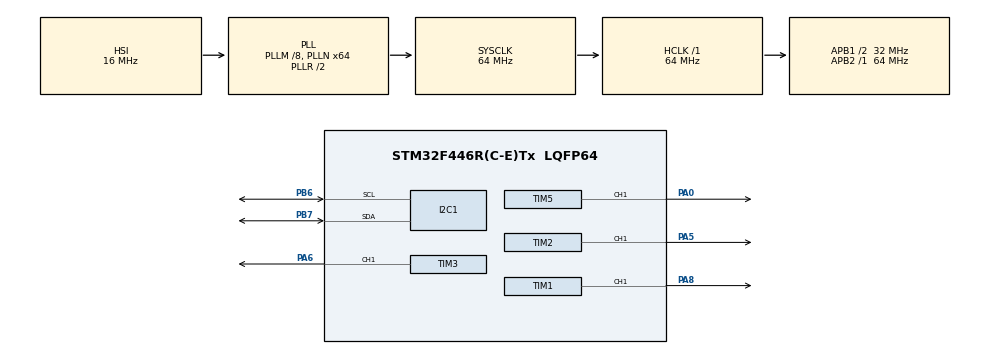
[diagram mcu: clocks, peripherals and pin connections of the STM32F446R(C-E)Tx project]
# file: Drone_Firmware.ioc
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Mcu.Family=STM32F4
Mcu.Name=STM32F446R(C-E)Tx
Mcu.Package=LQFP64
NVIC.PriorityGroup=NVIC_PRIORITYGROUP_4
PA0-WKUP.Signal=S_TIM5_CH1
PA5.Signal=S_TIM2_CH1_ETR
PA6.Signal=S_TIM3_CH1
PA8.Signal=S_TIM1_CH1
PB6.Mode=I2C
PB6.Signal=I2C1_SCL
PB7.Mode=I2C
PB7.Signal=I2C1_SDA
ProjectManager.HeapSize=0x200
ProjectManager.StackSize=0x400
ProjectManager.TargetToolchain=STM32CubeIDE
RCC.AHBFreq_Value=64000000
RCC.APB1CLKDivider=RCC_HCLK_DIV2
RCC.APB1Freq_Value=32000000
RCC.APB1TimFreq_Value=64000000
RCC.APB2Freq_Value=64000000
RCC.APB2TimFreq_Value=64000000
RCC.CortexFreq_Value=64000000
RCC.HCLKFreq_Value=64000000
RCC.PLLM=8
RCC.PLLN=64
RCC.SYSCLKFreq_VALUE=64000000
RCC.SYSCLKSource=RCC_SYSCLKSOURCE_PLLRCLK
RCC.USBFreq_Value=64000000
RCC.VCOOutputFreq_Value=128000000
SH.S_TIM1_CH1.0=TIM1_CH1,PWM Generation1 CH1
SH.S_TIM2_CH1_ETR.0=TIM2_CH1,PWM Generation1 CH1
SH.S_TIM3_CH1.0=TIM3_CH1,PWM Generation1 CH1
SH.S_TIM5_CH1.0=TIM5_CH1,PWM Generation1 CH1
TIM1.Channel-PWM\ Generation1\ CH1=TIM_CHANNEL_1
TIM1.Period=20000 - 1
TIM1.Prescaler=64 - 1
TIM1.Pulse-PWM\ Generation1\ CH1=1000
TIM2.Channel-PWM\ Generation1\ CH1=TIM_CHANNEL_1
TIM2.Period=20000 - 1
TIM2.Prescaler=64 - 1
TIM2.Pulse-PWM\ Generation1\ CH1=1000
TIM3.Channel-PWM\ Generation1\ CH1=TIM_CHANNEL_1
TIM3.Period=20000 - 1
TIM3.Prescaler=64 - 1
TIM3.Pulse-PWM\ Generation1\ CH1=1000
TIM5.Channel-PWM\ Generation1\ CH1=TIM_CHANNEL_1
TIM5.Period=20000 - 1
TIM5.Prescaler=64 - 1
TIM5.Pulse-PWM\ Generation1\ CH1=1000
board=custom

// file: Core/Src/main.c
/* USER CODE BEGIN Header */
/**
  ******************************************************************************
  * @file           : main.c
  * @brief          : Main program body
  ******************************************************************************
  * @attention
  *
  * Copyright (c) 2025 STMicroelectronics.
  * All rights reserved.
  *
  * This software is licensed under terms that can be found in the LICENSE file
  * in the root directory of this software component.
  * If no LICENSE file comes with this software, it is provided AS-IS.
  *
  ******************************************************************************
  */
/* USER CODE END Header */
#include "main.h"

/* USER CODE BEGIN Includes */
#include "stm32f4xx_hal_i2c.h"
#include "stm32f4xx_hal_gpio.h"
#include "stm32f4xx_hal.h"

#include <stdio.h>
/* USER CODE END Includes */

/* USER CODE BEGIN PTD */
#define BNO055_I2C_ADDR 0x28 << 1
#define BNO055_CHIP_ID_ADDR         0x00
#define BNO055_OPR_MODE_ADDR        0x3D
#define BNO055_PWR_MODE_ADDR        0x3E
#define BNO055_SYS_TRIGGER_ADDR     0x3F
#define BNO055_EULER_H_LSB_ADDR     0x1A

// BNO055 작동 모드
#define BNO055_OPERATION_MODE_NDOF  0x0C

/* USER CODE END PTD */

/* USER CODE BEGIN PM */
typedef struct {
    float Kp;
    float Ki;
    float Kd;
    float previous_error;
    float integral;
} PID_Controller;
/* USER CODE END PM */

I2C_HandleTypeDef hi2c1;

TIM_HandleTypeDef htim1;
TIM_HandleTypeDef htim2;
TIM_HandleTypeDef htim3;
TIM_HandleTypeDef htim5;

void SystemClock_Config(void);
static void MX_GPIO_Init(void);
static void MX_I2C1_Init(void);
static void MX_TIM1_Init(void);
static void MX_TIM2_Init(void);
static void MX_TIM3_Init(void);
static void MX_TIM5_Init(void);
/* USER CODE BEGIN PFP */
//void BNO055_Init(void);
//void BNO055_Read_Euler_Angles(int16_t *yaw, int16_t *roll, int16_t *pitch);
/* USER CODE END PFP */

int main(void)
{

  /* MCU Configuration--------------------------------------------------------*/

  /* Reset of all peripherals, Initializes the Flash interface and the Systick. */
  HAL_Init();

  /* Configure the system clock */
  SystemClock_Config();

  /* Initialize all configured peripherals */
  MX_GPIO_Init();
  MX_I2C1_Init();
  MX_TIM1_Init();
  MX_TIM2_Init();
  MX_TIM3_Init();
  MX_TIM5_Init();
  /* USER CODE BEGIN 2 */
  //BNO055_Init();
  __HAL_TIM_SET_COMPARE(&htim1, TIM_CHANNEL_1, 1000);
  __HAL_TIM_SET_COMPARE(&htim2, TIM_CHANNEL_1, 1000);

  // 2. PWM 출력 시작
  HAL_TIM_PWM_Start(&htim1, TIM_CHANNEL_1);
  HAL_TIM_PWM_Start(&htim2, TIM_CHANNEL_1);

  // 3. ESC가 초기화(Arming)될 때까지 2~3초 대기
  HAL_Delay(3000);

  /* Infinite loop */
  /* USER CODE BEGIN WHILE */
  int16_t yaw, pitch, roll;
  while (1)
  {

//	 BNO055_Read_Raw_Euler_Angles(&yaw, &roll, &pitch);
//	 printf("Yaw: %d, Roll: %d, Pitch: %d\n", yaw/16, roll/16, pitch/16);
    /* USER CODE END WHILE */
	__HAL_TIM_SET_COMPARE(&htim1, TIM_CHANNEL_1, 1300);
	__HAL_TIM_SET_COMPARE(&htim2, TIM_CHANNEL_1, 1300);

  }
}

void SystemClock_Config(void)
{
  RCC_OscInitTypeDef RCC_OscInitStruct = {0};
  RCC_ClkInitTypeDef RCC_ClkInitStruct = {0};

  /** Configure the main internal regulator output voltage
  */
  __HAL_RCC_PWR_CLK_ENABLE();
  __HAL_PWR_VOLTAGESCALING_CONFIG(PWR_REGULATOR_VOLTAGE_SCALE3);

  /** Initializes the RCC Oscillators according to the specified parameters
  * in the RCC_OscInitTypeDef structure.
  */
  RCC_OscInitStruct.OscillatorType = RCC_OSCILLATORTYPE_HSI;
  RCC_OscInitStruct.HSIState = RCC_HSI_ON;
  RCC_OscInitStruct.HSICalibrationValue = RCC_HSICALIBRATION_DEFAULT;
  RCC_OscInitStruct.PLL.PLLState = RCC_PLL_ON;
  RCC_OscInitStruct.PLL.PLLSource = RCC_PLLSOURCE_HSI;
  RCC_OscInitStruct.PLL.PLLM = 8;
  RCC_OscInitStruct.PLL.PLLN = 64;
  RCC_OscInitStruct.PLL.PLLP = RCC_PLLP_DIV2;
  RCC_OscInitStruct.PLL.PLLQ = 2;
  RCC_OscInitStruct.PLL.PLLR = 2;
  if (HAL_RCC_OscConfig(&RCC_OscInitStruct) != HAL_OK)
  {
    Error_Handler();
  }

  /** Initializes the CPU, AHB and APB buses clocks
  */
  RCC_ClkInitStruct.ClockType = RCC_CLOCKTYPE_HCLK|RCC_CLOCKTYPE_SYSCLK
                              |RCC_CLOCKTYPE_PCLK1|RCC_CLOCKTYPE_PCLK2;
  RCC_ClkInitStruct.SYSCLKSource = RCC_SYSCLKSOURCE_PLLRCLK;
  RCC_ClkInitStruct.AHBCLKDivider = RCC_SYSCLK_DIV1;
  RCC_ClkInitStruct.APB1CLKDivider = RCC_HCLK_DIV2;
  RCC_ClkInitStruct.APB2CLKDivider = RCC_HCLK_DIV1;

  if (HAL_RCC_ClockConfig(&RCC_ClkInitStruct, FLASH_LATENCY_2) != HAL_OK)
  {
    Error_Handler();
  }
}

static void MX_I2C1_Init(void)
{

  hi2c1.Instance = I2C1;
  hi2c1.Init.ClockSpeed = 100000;
  hi2c1.Init.DutyCycle = I2C_DUTYCYCLE_2;
  hi2c1.Init.OwnAddress1 = 0;
  hi2c1.Init.AddressingMode = I2C_ADDRESSINGMODE_7BIT;
  hi2c1.Init.DualAddressMode = I2C_DUALADDRESS_DISABLE;
  hi2c1.Init.OwnAddress2 = 0;
  hi2c1.Init.GeneralCallMode = I2C_GENERALCALL_DISABLE;
  hi2c1.Init.NoStretchMode = I2C_NOSTRETCH_DISABLE;
  if (HAL_I2C_Init(&hi2c1) != HAL_OK)
  {
    Error_Handler();
  }

}

static void MX_TIM1_Init(void)
{

  TIM_MasterConfigTypeDef sMasterConfig = {0};
  TIM_OC_InitTypeDef sConfigOC = {0};
  TIM_BreakDeadTimeConfigTypeDef sBreakDeadTimeConfig = {0};

  htim1.Instance = TIM1;
  htim1.Init.Prescaler = 64 - 1;
  htim1.Init.CounterMode = TIM_COUNTERMODE_UP;
  htim1.Init.Period = 20000 - 1;
  htim1.Init.ClockDivision = TIM_CLOCKDIVISION_DIV1;
  htim1.Init.RepetitionCounter = 0;
  htim1.Init.AutoReloadPreload = TIM_AUTORELOAD_PRELOAD_DISABLE;
  if (HAL_TIM_PWM_Init(&htim1) != HAL_OK)
  {
    Error_Handler();
  }
  sMasterConfig.MasterOutputTrigger = TIM_TRGO_RESET;
  sMasterConfig.MasterSlaveMode = TIM_MASTERSLAVEMODE_DISABLE;
  if (HAL_TIMEx_MasterConfigSynchronization(&htim1, &sMasterConfig) != HAL_OK)
  {
    Error_Handler();
  }
  sConfigOC.OCMode = TIM_OCMODE_PWM1;
  sConfigOC.Pulse = 1000;
  sConfigOC.OCPolarity = TIM_OCPOLARITY_HIGH;
  sConfigOC.OCNPolarity = TIM_OCNPOLARITY_HIGH;
  sConfigOC.OCFastMode = TIM_OCFAST_DISABLE;
  sConfigOC.OCIdleState = TIM_OCIDLESTATE_RESET;
  sConfigOC.OCNIdleState = TIM_OCNIDLESTATE_RESET;
  if (HAL_TIM_PWM_ConfigChannel(&htim1, &sConfigOC, TIM_CHANNEL_1) != HAL_OK)
  {
    Error_Handler();
  }
  sBreakDeadTimeConfig.OffStateRunMode = TIM_OSSR_DISABLE;
  sBreakDeadTimeConfig.OffStateIDLEMode = TIM_OSSI_DISABLE;
  sBreakDeadTimeConfig.LockLevel = TIM_LOCKLEVEL_OFF;
  sBreakDeadTimeConfig.DeadTime = 0;
  sBreakDeadTimeConfig.BreakState = TIM_BREAK_DISABLE;
  sBreakDeadTimeConfig.BreakPolarity = TIM_BREAKPOLARITY_HIGH;
  sBreakDeadTimeConfig.AutomaticOutput = TIM_AUTOMATICOUTPUT_DISABLE;
  if (HAL_TIMEx_ConfigBreakDeadTime(&htim1, &sBreakDeadTimeConfig) != HAL_OK)
  {
    Error_Handler();
  }
  HAL_TIM_MspPostInit(&htim1);

}

static void MX_TIM2_Init(void)
{

  TIM_MasterConfigTypeDef sMasterConfig = {0};
  TIM_OC_InitTypeDef sConfigOC = {0};

  htim2.Instance = TIM2;
  htim2.Init.Prescaler = 64 - 1;
  htim2.Init.CounterMode = TIM_COUNTERMODE_UP;
  htim2.Init.Period = 20000 - 1;
  htim2.Init.ClockDivision = TIM_CLOCKDIVISION_DIV1;
  htim2.Init.AutoReloadPreload = TIM_AUTORELOAD_PRELOAD_DISABLE;
  if (HAL_TIM_PWM_Init(&htim2) != HAL_OK)
  {
    Error_Handler();
  }
  sMasterConfig.MasterOutputTrigger = TIM_TRGO_RESET;
  sMasterConfig.MasterSlaveMode = TIM_MASTERSLAVEMODE_DISABLE;
  if (HAL_TIMEx_MasterConfigSynchronization(&htim2, &sMasterConfig) != HAL_OK)
  {
    Error_Handler();
  }
  sConfigOC.OCMode = TIM_OCMODE_PWM1;
  sConfigOC.Pulse = 1000;
  sConfigOC.OCPolarity = TIM_OCPOLARITY_HIGH;
  sConfigOC.OCFastMode = TIM_OCFAST_DISABLE;
  if (HAL_TIM_PWM_ConfigChannel(&htim2, &sConfigOC, TIM_CHANNEL_1) != HAL_OK)
  {
    Error_Handler();
  }
  HAL_TIM_MspPostInit(&htim2);

}

static void MX_TIM3_Init(void)
{

  TIM_MasterConfigTypeDef sMasterConfig = {0};
  TIM_OC_InitTypeDef sConfigOC = {0};

  htim3.Instance = TIM3;
  htim3.Init.Prescaler = 64 - 1;
  htim3.Init.CounterMode = TIM_COUNTERMODE_UP;
  htim3.Init.Period = 20000 - 1;
  htim3.Init.ClockDivision = TIM_CLOCKDIVISION_DIV1;
  htim3.Init.AutoReloadPreload = TIM_AUTORELOAD_PRELOAD_DISABLE;
  if (HAL_TIM_PWM_Init(&htim3) != HAL_OK)
  {
    Error_Handler();
  }
  sMasterConfig.MasterOutputTrigger = TIM_TRGO_RESET;
  sMasterConfig.MasterSlaveMode = TIM_MASTERSLAVEMODE_DISABLE;
  if (HAL_TIMEx_MasterConfigSynchronization(&htim3, &sMasterConfig) != HAL_OK)
  {
    Error_Handler();
  }
  sConfigOC.OCMode = TIM_OCMODE_PWM1;
  sConfigOC.Pulse = 1000;
  sConfigOC.OCPolarity = TIM_OCPOLARITY_HIGH;
  sConfigOC.OCFastMode = TIM_OCFAST_DISABLE;
  if (HAL_TIM_PWM_ConfigChannel(&htim3, &sConfigOC, TIM_CHANNEL_1) != HAL_OK)
  {
    Error_Handler();
  }
  HAL_TIM_MspPostInit(&htim3);

}

static void MX_TIM5_Init(void)
{

  TIM_MasterConfigTypeDef sMasterConfig = {0};
  TIM_OC_InitTypeDef sConfigOC = {0};

  htim5.Instance = TIM5;
  htim5.Init.Prescaler = 64 - 1;
  htim5.Init.CounterMode = TIM_COUNTERMODE_UP;
  htim5.Init.Period = 20000 - 1;
  htim5.Init.ClockDivision = TIM_CLOCKDIVISION_DIV1;
  htim5.Init.AutoReloadPreload = TIM_AUTORELOAD_PRELOAD_DISABLE;
  if (HAL_TIM_PWM_Init(&htim5) != HAL_OK)
  {
    Error_Handler();
  }
  sMasterConfig.MasterOutputTrigger = TIM_TRGO_RESET;
  sMasterConfig.MasterSlaveMode = TIM_MASTERSLAVEMODE_DISABLE;
  if (HAL_TIMEx_MasterConfigSynchronization(&htim5, &sMasterConfig) != HAL_OK)
  {
    Error_Handler();
  }
  sConfigOC.OCMode = TIM_OCMODE_PWM1;
  sConfigOC.Pulse = 1000;
  sConfigOC.OCPolarity = TIM_OCPOLARITY_HIGH;
  sConfigOC.OCFastMode = TIM_OCFAST_DISABLE;
  if (HAL_TIM_PWM_ConfigChannel(&htim5, &sConfigOC, TIM_CHANNEL_1) != HAL_OK)
  {
    Error_Handler();
  }
  HAL_TIM_MspPostInit(&htim5);

}

static void MX_GPIO_Init(void)
{

  /* GPIO Ports Clock Enable */
  __HAL_RCC_GPIOA_CLK_ENABLE();
  __HAL_RCC_GPIOB_CLK_ENABLE();

}

/* USER CODE BEGIN 4 */
void BNO055_Init(void) {
    uint8_t chip_id = 0;
    uint8_t config_data[2];

    // BNO055 칩 ID 확인
    HAL_I2C_Mem_Read(&hi2c1, BNO055_I2C_ADDR, BNO055_CHIP_ID_ADDR, 1, &chip_id, 1, HAL_MAX_DELAY);
    if (chip_id != 0xA0) {
        printf("BNO055 not detected!\r\n");
        while (1); // 무한 대기
    }

    // 운영 모드 설정 (NDOF 모드)
    config_data[0] = BNO055_OPR_MODE_ADDR;
    config_data[1] = BNO055_OPERATION_MODE_NDOF;
    HAL_I2C_Master_Transmit(&hi2c1, BNO055_I2C_ADDR, config_data, 2, HAL_MAX_DELAY);

    HAL_Delay(20); // 설정 적용 대기
}

void BNO055_Read_Raw_Euler_Angles(int16_t *yaw, int16_t *roll, int16_t *pitch) {
    uint8_t buffer[6]; // 6바이트 버퍼 (Yaw, Roll, Pitch 데이터)

    // BNO055의 Euler Angles 레지스터에서 데이터 읽기
    HAL_I2C_Mem_Read(&hi2c1, BNO055_I2C_ADDR, BNO055_EULER_H_LSB_ADDR, 1, buffer, 6, HAL_MAX_DELAY);

    // 버퍼 데이터를 16비트 형식으로 변환
    *yaw = (buffer[1] << 8) | buffer[0];  // Yaw 값
    *roll = (buffer[3] << 8) | buffer[2]; // Roll 값
    *pitch = (buffer[5] << 8) | buffer[4]; // Pitch 값
}

int __io_putchar(int ch) {
  return ITM_SendChar(ch);
}
/* USER CODE END 4 */

void Error_Handler(void)
{
  __disable_irq();
  while (1)
  {
  }
}
